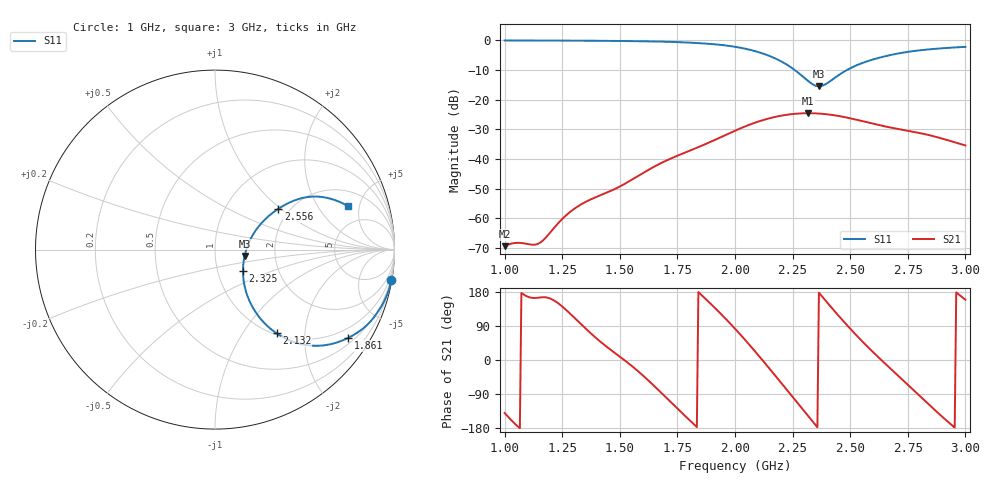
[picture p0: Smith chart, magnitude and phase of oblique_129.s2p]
! TOUCHSTONE file generated by CST MICROWAVE STUDIO
! Date and time: Tue Mar 18 00:02:12 2025
! Project name: oblique.cst
! Parameters = {Tilt=40; Fracture=1; B=10; D=160; F=15; Feed=2.85625; L=100; M=10; R=0.384908; S=1; Theta=270; length=57.125; wave=114.25}
! Header version: 2024
! Port assignment regex: !\s*Touchstone port\s*([0-9]+)\s*=\s*(CST MWS port|CST DES external port|CST DES block port)\s*(.+)\s* \(\"(.*)\"\)(\s*mode\s*([0-9]+))?.*
! Touchstone port assignment:
! Touchstone port 1 = CST MWS port 1 ("")
! Touchstone port 2 = CST MWS port 2 ("")
# GHz S DB R 50
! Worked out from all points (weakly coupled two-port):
!   303 points, 1 GHz to 3 GHz, reference 50 ohm
!   highest |S21| = -24.55 dB at 2.318 GHz (marker M1); lowest = -69.4 dB at 1 GHz (marker M2)
!   lowest |S11| = -15.5 dB at 2.364 GHz (marker M3), VSWR 1.41, Z = 69.5 - j5.08 ohm
!   |S11| at or under -10 dB: 2.26 GHz to 2.485 GHz (225.9 MHz wide, 9.52 % of centre)
!   S12 and S22 are empty: the file has one direction only
!   S11 on the Smith chart (normalised r, x): 1 GHz: 0, -12; 1.861 GHz: 0.67, -3.19; 2.132 GHz: 1.02, -1.44; 2.325 GHz: 1.32, -0.33; 2.556 GHz: 1.75, +0.97; 3 GHz: 3.12, +3.83
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1  -0.02 -9.8  -69.38 -139.9  -200.00 0.0  -200.00 0.0
1.04636  -0.03 -10.4  -68.29 -169.3  -200.00 0.0  -200.00 0.0
1.12583  -0.04 -11.6  -68.89 163.7  -200.00 0.0  -200.00 0.0
1.15232  -0.04 -12.0  -68.29 165.0  -200.00 0.0  -200.00 0.0
1.2649  -0.07 -13.9  -59.12 133.3  -200.00 0.0  -200.00 0.0
1.33775  -0.09 -15.3  -55.03 91.1  -200.00 0.0  -200.00 0.0
1.49669  -0.18 -19.0  -49.41 10.4  -200.00 0.0  -200.00 0.0
1.66887  -0.39 -24.4  -41.77 -80.0  -200.00 0.0  -200.00 0.0
1.86093  -1.01 -33.5  -35.33 167.8  -200.00 0.0  -200.00 0.0
2  -2.15 -43.3  -30.45 82.7  -200.00 0.0  -200.00 0.0
2.13245  -4.74 -53.7  -26.62 -10.1  -200.00 0.0  -200.00 0.0
2.22517  -8.18 -56.9  -25.07 -78.9  -200.00 0.0  -200.00 0.0
2.31788  -13.72 -40.7  -24.55 -148.2  -200.00 0.0  -200.00 0.0
2.3245  -14.13 -37.6  -24.55 -153.1  -200.00 0.0  -200.00 0.0
2.33775  -14.83 -30.2  -24.57 -162.9  -200.00 0.0  -200.00 0.0
2.36424  -15.47 -12.2  -24.67 177.6  -200.00 0.0  -200.00 0.0
2.39073  -14.87 5.3  -24.84 158.4  -200.00 0.0  -200.00 0.0
2.45695  -11.34 27.5  -25.59 111.7  -200.00 0.0  -200.00 0.0
2.55629  -7.53 32.8  -27.29 46.8  -200.00 0.0  -200.00 0.0
2.66887  -5.03 30.7  -29.28 -19.3  -200.00 0.0  -200.00 0.0
2.82119  -3.18 24.4  -31.55 -105.9  -200.00 0.0  -200.00 0.0
3  -2.18 18.1  -35.43 159.1  -200.00 0.0  -200.00 0.0
